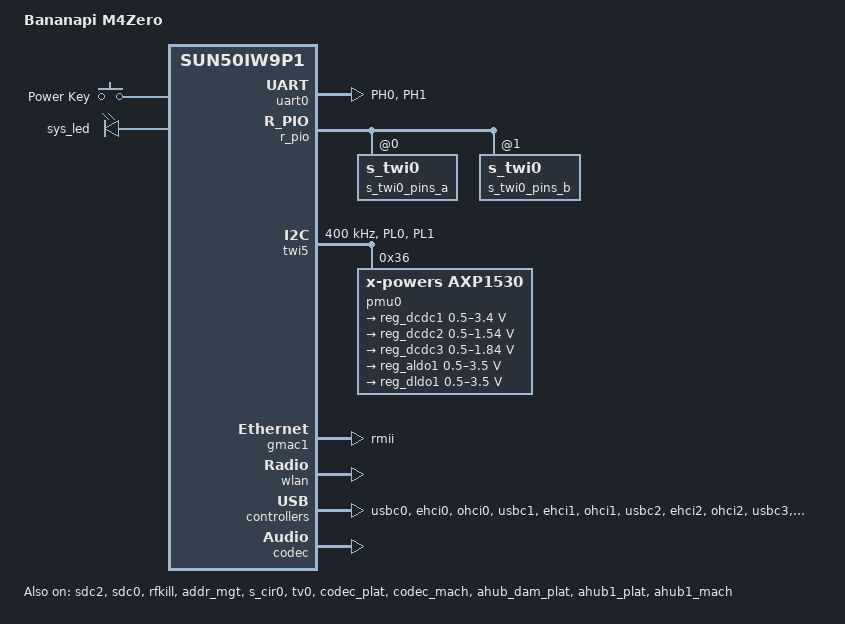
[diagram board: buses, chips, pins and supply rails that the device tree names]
// SPDX-License-Identifier: (GPL-2.0+ or MIT)
/*
 * Copyright (C) 2020 frank@allwinnertech.com
 */

/dts-v1/;
#include <dt-bindings/gpio/sun4i-gpio.h>
#include <dt-bindings/input/linux-event-codes.h>

#include "sun50iw9.dtsi"

/{
	model = "Bananapi M4Zero";
	compatible = "allwinner,h616", "arm,sun50iw9p1";

	aliases {
		disp = &uboot_disp;
		pmu0 = &pmu0;
		standby_param = &standby_param;
		hdmi = &uboot_hdmi;
		spi0 = &spi0;
		spi1 = &spi1;
		twi0 = &twi0;
		twi1 = &twi1;
		twi2 = &twi2;
		twi3 = &twi3;
		twi4 = &twi4;
		twi5 = &twi5;
	};

	gpio-keys {
		compatible = "gpio-keys";
		status = "okay";
		autorepeat;

		power {
			label = "Power Key";
			linux,code = <KEY_POWER>;
			gpio = <&pio PC 7 GPIO_ACTIVE_LOW>;	/* PC7 */
			wakeup-source;
			debounce-interval = <100>;
		};
	};

	gpio-leds {
                compatible = "gpio-leds";
                status = "okay";

                sys_led {
                        label="sys_led";
                        gpio = <&pio PC 12 GPIO_ACTIVE_LOW>;
                        linux,default-trigger = "heartbeat";
                };
        };

	box_start_os0 {
		compatible = "allwinner,box_start_os";
		start_type = <0x1>;
		irkey_used = <0x1>;
		pmukey_used = <0x0>;
		pmukey_num = <0x0>;
		led_power = <0x0>;
		led_state = <0x0>;
		pinctrl-0 = <&standby_red>;
		pinctrl-1 = <&standby_gpiokey>;
	};
};

&cpu0 {
	cpu-supply = <&reg_dcdc2>;
};

&spi0 {
	spi_slave_mode = <0>;
	pinctrl-names = "default", "sleep";
	pinctrl-0 = <&spi0_pins_a &spi0_pins_b>;
	pinctrl-1 = <&spi0_pins_c>;
	spi1_cs_number = <1>;
	spi1_cs_bitmap = <1>;
	status = "disabled";

	spi_board0 {
		device_type = "spi_board0";
		compatible = "linux,spidev";
		spi-max-frequency = <0x10000000>;
		reg = <0>;
		/*spi-rx-bus-width = <0x1>;
		spi-tx-bus-width = <0x1>;*/
		status = "disabled";
	};
};

/* 40pin spi1, pin19,21,23,24,26*/
&spi1 {
	spi_slave_mode = <0>;
	pinctrl-names = "default", "sleep";
	pinctrl-0 = <&spi1_pins_a &spi1_pins_b>;
	pinctrl-1 = <&spi1_pins_c>;
	status = "disabled";
	spi_board1@0 {
		device_type = "spi_board1";
		compatible = "linux,spidev";
		spi-max-frequency = <0x5f5e100>;
		reg = <0x0>;
		spi-rx-bus-width = <0x1>;
		spi-tx-bus-width = <0x1>;
		status = "okay";
	};
};

&uart0 {
	pinctrl-names = "default", "sleep";
	pinctrl-0 = <&uart0_ph_pins>;
	pinctrl-1 = <&uart0_ph_sleep>;
	status = "okay";
};

/* 40pin uart1, pin8,10,16,18*/
&uart1 {
	pinctrl-names = "default", "sleep";
	pinctrl-0 = <&uart1_ph_pins>;
	pinctrl-1 = <&uart1_ph_sleep>;
	device_type = "uart1";
	status = "disabled";
};

/* 40pin uart2, pin3,5 or pin23,24 */
&uart2 {
	pinctrl-names = "default", "sleep";
	//pinctrl-0 = <&uart2_pg_pins>;
	//pinctrl-1 = <&uart2_pg_sleep>;
	pinctrl-0 = <&uart2_ph_pins>;
	pinctrl-1 = <&uart2_ph_sleep>;
	status = "disabled";
};

/* zero 26pin uart3, pin7,8,9,10 */
&uart3 {
	pinctrl-names = "default", "sleep";
	pinctrl-0 = <&uart3_ph_pins>;
	pinctrl-1 = <&uart3_ph_sleep>;
	status = "disabled";
};

&uart4 {
	pinctrl-names = "default", "sleep";
	pinctrl-0 = <&uart4_ph_pins>;
	pinctrl-1 = <&uart4_ph_sleep>;
	status = "disabled";
};

/* 40pin uart5, pin11,13 */
&uart5 {
	pinctrl-names = "default", "sleep";
	pinctrl-0 = <&uart5_ph_pins>;
	pinctrl-1 = <&uart5_ph_sleep>;
	status = "disabled";
};

/* emmc */
&sdc2 {
	max-frequency = <100000000>;
	mmc-ddr-1_8v;
	mmc-hs200-1_8v;
	mmc-hs400-1_8v;
	sunxi-dis-signal-vol-sw;
	vmmc-supply = <&reg_dldo1>;
	vqmmc-supply = <&reg_aldo1>;
	status = "okay";
};

/* sd */
&sdc0 {
	max-frequency = <150000000>;
	sd-uhs-sdr50;
	sd-uhs-ddr50;
	sd-uhs-sdr104;
	vmmc-supply = <&reg_dldo1>;
	//cd-gpios = <&pio PF 6 (GPIO_ACTIVE_HIGH | GPIO_PULL_DOWN)>;
	non-removable;
	status = "okay";
};

/* 40pin sdio, pin32,22,15,29,31,33 */
&sdc1 {
	max-frequency = <150000000>;
	pinctrl-0 = <&sdc1_pins_a>;
	bus-width = <4>;
	no-mmc;
	no-sd;
	cap-sd-highspeed;
	sd-uhs-sdr12;
	sd-uhs-sdr25;
	sd-uhs-sdr50;
	sd-uhs-ddr50;
	sd-uhs-sdr104;
	/*sunxi-power-save-mode;*/
	sunxi-dis-signal-vol-sw;
	cap-sdio-irq;
	keep-power-in-suspend;
	ignore-pm-notify;
	ctl-spec-caps = <0x8>;
	vmmc-supply = <&reg_dldo1>;
	vqmmc-supply = <&reg_aldo1>;
	status = "disabled";
};

&nand0 {
	nand0_regulator1-supply = <&reg_dldo1>;
	nand0_regulator2-supply = <&reg_aldo1>;
	status = "disabled";
};

&r_pio {
	s_twi0_pins_a: s_twi0@0 {
		pins = "PL0", "PL1";
		function = "s_twi0";
		drive-strength = <20>;
		bias-pull-up;
	};

	s_twi0_pins_b: s_twi0@1 {
		pins = "PL0", "PL1";
		function = "gpio_in";
	};
};

/* For uboot */
/* for mmc */
&pio {

	vcc-pg-supply = <&reg_pio1_8>;

	uart0_ph_pins: uart0-ph-pins {
		pins = "PH0", "PH1";
		function = "uart0";
		bias-pull-up;
	};

	uart0_ph_sleep: uart0-ph-sleep {
		pins = "PH0", "PH1";
		function = "gpio_in";
	};

	uart1_ph_pins: uart1-ph-pins {
		pins = "PG6", "PG7", "PG8", "PG9";
		function = "uart1";
	};

	uart1_ph_sleep: uart1-ph-sleep {
		pins = "PG6", "PG7", "PG8", "PG9";
		function = "gpio_in";
	};
/*
	uart2_ph_pins: uart2-ph-pins {
		pins = "PG15", "PG16";
		function = "uart2";
	};

	uart2_ph_sleep: uart2-ph-sleep {
		pins = "PG15", "PG16";
		function = "gpio_in";
	};
*/
	uart2_ph_pins: uart2-ph-pins {
		pins = "PH5", "PH6";
		function = "uart2";
	};

	uart2_ph_sleep: uart2-ph-sleep {
		pins = "PH5", "PH6";
		function = "gpio_in";
	};

	uart3_ph_pins: uart3-ph-pins {
		pins = "PI9", "PI10", "PI11", "PI12";
		function = "uart3";
	};

	uart3_ph_sleep: uart3-ph-sleep {
		pins = "PI9", "PI10", "PI11", "PI12";
		function = "gpio_in";
	};

	uart4_ph_pins: uart4-ph-pins {
		pins = "PI13", "PI14";
		function = "uart4";
	};

	uart4_ph_sleep: uart4-ph-sleep {
		pins = "PI13", "PI14";
		function = "gpio_in";
	};

	uart5_ph_pins: uart5-ph-pins {
		pins = "PH2", "PH3";
		function = "uart5";
	};

	uart5_ph_sleep: uart5-ph-sleep {
		pins = "PH2", "PH3";
		function = "gpio_in";
	};

	s_cir0_pins_a: s_cir0@0 {
		pins = "PH10";
		function = "ir";
		drive-strength = <10>;
		bias-pull-up;
	};

	s_cir0_pins_b: s_cir0@1 {
	        pins = "PH10";
	        function = "gpio_in";
	};

	sdc0_pins_a: sdc0@0 {
		allwinner,pins = "PF0", "PF1", "PF2",
				 "PF3", "PF4", "PF5";
		allwinner,function = "sdc0";
		allwinner,muxsel = <2>;
		allwinner,drive = <3>;
		allwinner,pull = <1>;
	};

	sdc2_pins_a: sdc2@0 {
		allwinner,pins = "PC1", "PC5", "PC6",
				 "PC8", "PC9", "PC10", "PC11",
				 "PC13", "PC14", "PC15", "PC16";
		allwinner,function = "sdc2";
		allwinner,muxsel = <3>;
		allwinner,drive = <3>;
		allwinner,pull = <1>;
	};

	sdc2_pins_c: sdc2@2 {
		allwinner,pins = "PC0";
		allwinner,function = "sdc2";
		allwinner,muxsel = <3>;
		allwinner,drive = <3>;
		allwinner,pull = <2>;
	};

	twi0_pins_a: twi0@0 {
		pins = "PI5", "PI6";
		function = "twi0";
		drive-strength = <10>;
		bias-pull-up;
	};

	twi0_pins_b: twi0@1 {
		pins = "PI5", "PI6";
		function = "gpio_in";
	};

	twi1_pins_a: twi1@0 {
		pins = "PH0", "PH1";
		function = "twi1";
		drive-strength = <10>;
		bias-pull-up;
	};

	twi1_pins_b: twi1@1 {
		pins = "PH0", "PH1";
		function = "gpio_in";
	};

	twi2_pins_a: twi2@0 {
		pins = "PH2", "PH3";
		function = "twi2";
		drive-strength = <10>;
		bias-pull-up;
	};

	twi2_pins_b: twi2@1 {
		pins = "PH2", "PH3";
		function = "gpio_in";
	};

	twi3_pins_a: twi3@0 {
		pins = "PG17", "PG18";
		function = "twi3";
		drive-strength = <10>;
		bias-pull-up;
	};

	twi3_pins_b: twi3@1 {
		pins = "PG17", "PG18";
		function = "gpio_in";
	};

	twi4_pins_a: twi4@0 {
		pins = "PG15", "PG16";
		function = "twi4";
		drive-strength = <10>;
		bias-pull-up;
	};

	twi4_pins_b: twi4@1 {
		pins = "PG15", "PG16";
		function = "gpio_in";
	};

	spi0_pins_a: spi0@0 {
		pins = "PC0", "PC2", "PC4";
		function = "spi0";
		drive-strength = <20>;
	};

	spi0_pins_b: spi0@1 {
		pins = "PC3";
		function = "spi0";
		drive-strength = <20>;
		bias-pull-up;
	};

	spi0_pins_c: spi0@2 {
		pins = "PC0", "PC2", "PC3", "PC4";
		function = "gpio_in";
		drive-strength = <20>;
	};

	spi1_pins_a: spi1@0 {
		pins = "PH6", "PH7", "PH8";
		function = "spi1";
		drive-strength = <20>;
	};

	spi1_pins_b: spi1@1 {
		pins = "PH5", "PH9";
		function = "spi1";
		drive-strength = <20>;
		bias-pull-up;

	};

	spi1_pins_c: spi1@2 {
		pins = "PH5", "PH6", "PH7", "PH8", "PH9";
		function = "gpio_in";
		drive-strength = <20>;
	};

	gmac0_pins_a: gmac0@0 {
		pins = "PI0", "PI1", "PI2", "PI3",
			"PI4", "PI5", "PI7",
			"PI8", "PI9", "PI10", "PI11",
			"PI12", "PI13", "PI14", "PI15";
		function = "gmac0";
		drive-strength = <40>;
		bias-pull-up;
	};

	gmac0_pins_b: gmac0@1 {
		pins = "PI0", "PI1", "PI2", "PI3",
			"PI4", "PI5", "PI7",
			"PI8", "PI9", "PI10", "PI11",
			"PI12", "PI13", "PI14", "PI15";
	        function = "gpio_in";
	};


	pwm1_pin_a: pwm1@0 {
		pins = "PG19";
		function = "pwm1";
		drive-strength = <10>;
		bias-pull-up;
	};

	pwm1_pin_b: pwm1@1 {
		pins = "PG19";
		function = "gpio_in";
	};

	spdif_pins_a: spdif@0 {
		pins = "PH4";	/* spdif out */
		function = "spdif";
		drive-strength = <20>;
		bias-disable;
	};

	spdif_pins_b: spdif_sleep@0 {
		pins = "PH4";
		function = "gpio_in";
		drive-strength = <20>;
		bias-disable;
	};

	ahub_daudio0_pins_a: ahub_daudio0@0 {
		pins = "PI0", "PI1", "PI2";
		function = "i2s0";
		drive-strength = <20>;
		bias-disable;
	};

	ahub_daudio0_pins_b: ahub_daudio0@1 {
		pins = "PI3";
		function = "i2s0_dout0";
		drive-strength = <20>;
		bias-disable;
	};

	ahub_daudio0_pins_c: ahub_daudio0@2 {
		pins = "PI4";
		function = "i2s0_din0";
		drive-strength = <20>;
		bias-disable;
	};

	ahub_daudio0_pins_d: ahub_daudio0_sleep@0 {
		pins = "PI0", "PI1", "PI2", "PI3", "PI4";
		function = "gpio_in";
		drive-strength = <20>;
		bias-disable;
	};

	ahub_daudio2_pins_a: ahub_daudio2@0 {
		pins = "PG10", "PG11", "PG12";
		function = "i2s2";
		drive-strength = <20>;
		bias-disable;
	};

	ahub_daudio2_pins_b: ahub_daudio2@1 {
		pins = "PG13";
		function = "i2s2_dout0";
		drive-strength = <20>;
		bias-disable;
	};

	ahub_daudio2_pins_c: ahub_daudio2@2 {
		pins = "PG14";
		function = "i2s2_din0";
		drive-strength = <20>;
		bias-disable;
	};

	ahub_daudio2_pins_d: ahub_daudio2_sleep@0 {
		pins = "PG10", "PG11", "PG12", "PG13", "PG14";
		function = "gpio_in";
		drive-strength = <20>;
		bias-disable;
	};

	ahub_daudio3_pins_a: ahub_daudio3@0 {
		pins = "PH5", "PH6", "PH7";
		function = "i2s3";
		drive-strength = <20>;
		bias-disable;
	};

	ahub_daudio3_pins_b: ahub_daudio3@1 {
		pins = "PH8";
		function = "i2s3_dout0";
		drive-strength = <20>;
		bias-disable;
	};

	ahub_daudio3_pins_c: ahub_daudio3@2 {
		pins = "PH9";
		function = "i2s3_din0";
		drive-strength = <20>;
		bias-disable;
	};

	ahub_daudio3_pins_d: ahub_daudio3_sleep@0 {
		pins = "PH5", "PH6", "PH7", "PH8", "PH9";
		function = "gpio_in";
		drive-strength = <20>;
		bias-disable;
	};

	standby_red: standby@0 {
		allwinner,pins = "PC12";
		allwinner,function = "gpio_out";
		allwinner,muxsel = <1>;
		allwinner,data = <0>;
		allwinner,drive = <2>;
		allwinner,pull = <2>;
	};
	standby_gpiokey: standby@1 {
		allwinner,pins = "PC7";
		allwinner,function = "gpio_in";
		allwinner,muxsel = <0>;
		allwinner,data = <0>;
		allwinner,drive = <0>;
		allwinner,pull = <1>;
	};
};

&twi0 {
	clock-frequency = <400000>;
	pinctrl-0 = <&twi0_pins_a>;
	pinctrl-1 = <&twi0_pins_b>;
	pinctrl-names = "default", "sleep";
	twi_drv_used = <1>;
	status = "disabled";

	eeprom@50 {
		compatible = "atmel,24c16";
		reg = <0x50>;
		status = "disabled";
	};
};

&twi1 {
	clock-frequency = <400000>;
	pinctrl-0 = <&twi1_pins_a>;
	pinctrl-1 = <&twi1_pins_b>;
	pinctrl-names = "default", "sleep";
	twi_drv_used = <1>;
	status = "disabled";
};

/* 40pin i2c2, pin11,13 */
&twi2 {
	clock-frequency = <400000>;
	pinctrl-0 = <&twi2_pins_a>;
	pinctrl-1 = <&twi2_pins_b>;
	pinctrl-names = "default", "sleep";
	twi_drv_used = <1>;
	status = "disabled";
};

/* 40pin i2c3, pin27,28 */
&twi3 {
	clock-frequency = <400000>;
	pinctrl-0 = <&twi3_pins_a>;
	pinctrl-1 = <&twi3_pins_b>;
	pinctrl-names = "default", "sleep";
	twi_drv_used = <1>;
	status = "disabled";
};

/* 40pin i2c4, pin3,5 */
&twi4 {
	clock-frequency = <400000>;
	pinctrl-0 = <&twi4_pins_a>;
	pinctrl-1 = <&twi4_pins_b>;
	pinctrl-names = "default", "sleep";
	twi_drv_used = <1>;
	status = "disabled";

	pcm5122: pcm5122@4d {
		compatible = "ti,pcm5122";
		reg = <0x4d>;
		#sound-dai-cells = <0>;
		status = "disabled";
	};
};

&twi5 {
	clock-frequency = <400000>;
	pinctrl-0 = <&s_twi0_pins_a>;
	pinctrl-1 = <&s_twi0_pins_b>;
	pinctrl-names = "default", "sleep";
	device_type = "twi5";
	no_suspend = <1>;
	twi_drv_used = <0>;
	status = "okay";

	pmu0: pmu{
		compatible = "x-powers,axp1530";
		reg = <0x36>;
		/* irq line nc */
		wakeup-source;
		pmu_hot_shutdown = <1>;

		standby_param: standby_param {
			vdd-cpua = <0x2>;
			vdd-sys= <0x1>;
			vcc-io = <0x10>;
			vcc-dram = <0x4>;
		};

		regulators{
			reg_dcdc1: dcdc1 {
				regulator-name = "axp1530-dcdc1";
				regulator-min-microvolt = <500000>;
				regulator-max-microvolt = <3400000>;
				regulator-step-delay-us = <25>;
				regulator-final-delay-us = <50>;
				regulator-always-on;
			};

			reg_dcdc2: dcdc2 {
				regulator-name = "axp1530-dcdc2";
				regulator-min-microvolt = <500000>;
				regulator-max-microvolt = <1540000>;
				regulator-step-delay-us = <25>;
				regulator-final-delay-us = <50>;
				regulator-ramp-delay = <200>; /* FIXME */
				regulator-always-on;
			};

			reg_dcdc3: dcdc3 {
				regulator-name = "axp1530-dcdc3";
				regulator-min-microvolt = <500000>;
				regulator-max-microvolt = <1840000>;
				regulator-step-delay-us = <25>;
				regulator-final-delay-us = <50>;
				regulator-always-on;
			};

			reg_aldo1: ldo1 {
				regulator-name = "axp1530-aldo1";
				regulator-min-microvolt = <500000>;
				regulator-max-microvolt = <3500000>;
				regulator-step-delay-us = <25>;
				regulator-final-delay-us = <50>;
				regulator-always-on;
			};

			reg_dldo1: ldo2 {
				regulator-name = "axp1530-dldo1";
				regulator-min-microvolt = <500000>;
				regulator-max-microvolt = <3500000>;
				regulator-step-delay-us = <25>;
				regulator-final-delay-us = <50>;
				regulator-always-on;
			};
		};
	};
};

&cpu_trips{
	cpu_crit: cpu_crit@0 {
		temperature = <115000>;
		type = "critical";
		hysteresis = <0>;
	};
};

/*use_ephy25m, 0->external, 1->internal*/
&gmac0 {
	phy-mode = "rgmii";
	use_ephy25m = <0>;
	pinctrl-0 = <&gmac0_pins_a>;
	pinctrl-1 = <&gmac0_pins_b>;
	pinctrl-names = "default", "sleep";
	phy-rst = <&pio PI 16 GPIO_ACTIVE_HIGH>;
	tx-delay = <7>;
	rx-delay = <31>;
	status = "disabled";
};

&gmac1 {
	phy-mode = "rmii";
	status = "okay";
};

/* for disp */
&soc {
	card0_boot_para@2 {
		/* Avoid dtc compiling warnings. */
		reg = <0x0 0x2 0x0 0x0>;
		device_type = "card0_boot_para";
		card_ctrl = <0x0>;
		card_high_speed = <0x1>;
		card_line = <0x4>;
		pinctrl-0 = <&sdc0_pins_a>;
	};

	card2_boot_para@3 {
		/* Avoid dtc compiling warnings. */
		reg = <0x0 0x3 0x0 0x0>;
		device_type = "card2_boot_para";
		card_ctrl = <0x2>;
		card_high_speed = <0x1>;
		card_line = <0x8>;
		pinctrl-0 = <&sdc2_pins_a &sdc2_pins_c>;
		sdc_ex_dly_used = <0x2>;
		sdc_io_1v8 = <0x1>;
		sdc_type = "tm4";
	};

	clk_pll_video2: pll_video2 {
		#clock-cells = <0>;
		compatible = "allwinner,pll-clock";
		lock-mode = "new";
		assigned-clocks = <&clk_pll_video2>;
		/*assigned-clock-rates = <432000000>;*/
		clock-output-names = "pll_video2";
	};

	clk_pll_de: pll_de {
		#clock-cells = <0>;
		compatible = "allwinner,pll-clock";
		assigned-clocks = <&clk_pll_de>;
		assigned-clock-rates = <696000000>;
		lock-mode = "new";
		clock-output-names = "pll_de";
	};

	clk_de: de {
		#clock-cells = <0>;
		compatible = "allwinner,periph-clock";
		assigned-clock-parents = <&clk_pll_de>;
		assigned-clock-rates = <696000000>;
		assigned-clocks = <&clk_de>;
		clock-output-names = "de";
	};

	clk_display_top: display_top {
		#clock-cells = <0>;
		compatible = "allwinner,periph-clock";
		clock-output-names = "display_top";
	};

	clk_tcon_lcd: tcon_lcd {
		#clock-cells = <0>;
		compatible = "allwinner,periph-clock";
		clock-output-names = "tcon_lcd";
	};

	clk_tcon_lcd1: tcon_lcd1 {
		#clock-cells = <0>;
		compatible = "allwinner,periph-clock";
		clock-output-names = "tcon_lcd1";
	};
	clk_tcon_tv: tcon_tv {
		#clock-cells = <0>;
		compatible = "allwinner,periph-clock";
		assigned-clock-parents = <&clk_pll_video2>;
		assigned-clocks = <&clk_tcon_tv>;
		clock-output-names = "tcon_tv";
	};
	clk_tcon_tv1: tcon_tv1 {
		#clock-cells = <0>;
		compatible = "allwinner,periph-clock";
		clock-output-names = "tcon_tv1";
	};
	clk_lvds: lvds {
		#clock-cells = <0>;
		compatible = "allwinner,periph-clock";
		clock-output-names = "lvds";
		assigned-clocks = <&clk_lvds>;
	};
	clk_hdmi: hdmi {
		#clock-cells = <0>;
		compatible = "allwinner,periph-clock";
		assigned-clock-parents = <&clk_pll_video2>;
		assigned-clocks = <&clk_hdmi>;
		clock-output-names = "hdmi";
	};
	clk_hdmi_slow: hdmi_slow {
		#clock-cells = <0>;
		compatible = "allwinner,periph-clock";
		assigned-clocks = <&clk_hdmi_slow>;
		clock-output-names = "hdmi_slow";
	};
	clk_hdmi_cec: hdmi_cec {
		#clock-cells = <0>;
		compatible = "allwinner,periph-clock";
		assigned-clocks = <&clk_hdmi_cec>;
		clock-output-names = "hdmi_cec";
	};
	clk_hdmi_hdcp: hdmi_hdcp {
		#clock-cells = <0>;
		compatible = "allwinner,periph-clock";
		assigned-clock-parents = <&clk_pll_periph1>;
		assigned-clocks = <&clk_hdmi_hdcp>;
		clock-output-names = "hdmi_hdcp";
	};
	clk_pll_periph1: pll_periph1 {
		#clock-cells = <0>;
		compatible = "allwinner,pll-clock";
		assigned-clocks = <&clk_pll_periph1>;
		assigned-clock-rates = <600000000>;
		lock-mode = "new";
		clock-output-names = "pll_periph1";
	};

	auto_print@54321 {
		reg = <0x0 0x54321 0x0 0x0>;
		device_type = "auto_print";
		status = "disabled";
	};

	ac200: ac200 {
		tv_used = <0>;
		tv_twi_used = <1>;
		tv_twi_id = <3>;
		tv_twi_addr = <16>;
		tv_pwm_ch = <5>;
		status = "okay";
	};

	gpio_para {
		gpio_num = <28>;
		gpio_pin_1 = <&pio PG 0  GPIO_ACTIVE_HIGH>;
		gpio_pin_2 = <&pio PG 1 GPIO_ACTIVE_HIGH>;
		gpio_pin_3 = <&pio PG 2 GPIO_ACTIVE_HIGH>;
		gpio_pin_4 = <&pio PG 3 GPIO_ACTIVE_HIGH>;
		gpio_pin_5 = <&pio PG 4 GPIO_ACTIVE_HIGH>;
		gpio_pin_6 = <&pio PG 5 GPIO_ACTIVE_HIGH>;
		gpio_pin_7 = <&pio PG 6 GPIO_ACTIVE_HIGH>;
		gpio_pin_8 = <&pio PG 7 GPIO_ACTIVE_HIGH>;
		gpio_pin_9 = <&pio PG 8 GPIO_ACTIVE_HIGH>;
		gpio_pin_10 = <&pio PG 9 GPIO_ACTIVE_HIGH>;
		gpio_pin_11 = <&pio PG 10 GPIO_ACTIVE_HIGH>;
		gpio_pin_12 = <&pio PG 11 GPIO_ACTIVE_HIGH>;
		gpio_pin_13 = <&pio PG 12 GPIO_ACTIVE_HIGH>;
		gpio_pin_14 = <&pio PG 13 GPIO_ACTIVE_HIGH>;
		gpio_pin_15 = <&pio PG 14 GPIO_ACTIVE_HIGH>;
		gpio_pin_16 = <&pio PG 15 GPIO_ACTIVE_HIGH>;
		gpio_pin_17 = <&pio PG 16 GPIO_ACTIVE_HIGH>;
		gpio_pin_18 = <&pio PG 17 GPIO_ACTIVE_HIGH>;
		gpio_pin_19 = <&pio PG 18 GPIO_ACTIVE_HIGH>;
		gpio_pin_20 = <&pio PG 19 GPIO_ACTIVE_HIGH>;
		gpio_pin_21 = <&pio PH 2 GPIO_ACTIVE_HIGH>;
		gpio_pin_22 = <&pio PH 3 GPIO_ACTIVE_HIGH>;
		gpio_pin_23 = <&pio PH 4 GPIO_ACTIVE_HIGH>;
		gpio_pin_24 = <&pio PH 5 GPIO_ACTIVE_HIGH>;
		gpio_pin_25 = <&pio PH 6 GPIO_ACTIVE_HIGH>;
		gpio_pin_26 = <&pio PH 7 GPIO_ACTIVE_HIGH>;
		gpio_pin_27 = <&pio PH 8 GPIO_ACTIVE_HIGH>;
		gpio_pin_28 = <&pio PH 9 GPIO_ACTIVE_HIGH>;
		//gpio_pin_29 = <&pio PC 12 GPIO_ACTIVE_HIGH>;
		//normal_led = "gpio_pin_1";
		//easy_light_used = <1>;
		//normal_led_light = <1>;
		status = "okay";
	};
};

&rfkill {
	compatible = "allwinner,sunxi-rfkill";
	//chip_en = <&pio PC 2 GPIO_ACTIVE_HIGH>;
	power_en;
	pinctrl-0;
	pinctrl-names;
	clocks;
	status = "okay";

	wlan: wlan {
		compatible = "allwinner,sunxi-wlan";
		wlan_busnum = <0x1>;
		wlan_power;
		wlan_regon;
		wlan_hostwake;
		wakeup-source;
	};

	bt: bt {
		compatible = "allwinner,sunxi-bt";
		bt_power;
		bt_rst_n;
	};
};

&btlpm {
	compatible = "allwinner,sunxi-btlpm";
	uart_index = <0x1>;
	bt_wake = <&pio PG 17 GPIO_ACTIVE_HIGH>;
	bt_hostwake = <&pio PG 16 GPIO_ACTIVE_HIGH>;
	status = "disabled";
	wakeup-source;
};

&addr_mgt {
	compatible = "allwinner,sunxi-addr_mgt";
	type_addr_wifi = <0x0>;
	type_addr_bt = <0x0>;
	type_addr_eth = <0x0>;
	status = "okay";
};

/* 40pin pwm1, pin7 */
&pwm1 {
	pinctrl-names = "active", "sleep";
	pinctrl-0 = <&pwm1_pin_a>;
	pinctrl-1 = <&pwm1_pin_b>;
	status = "disable";
};

&hdmi {
	hdmi_used = <1>;
	aldo1-supply = <&reg_aldo1>;
	dcdc1-supply = <&reg_dcdc1>;
	hdmi_power_cnt = <2>;
	hdmi_power0 = "aldo1";
	hdmi_power1 = "dcdc1";
	hdmi_hdcp_enable = <1>;
	hdmi_hdcp22_enable = <1>;
	hdmi_cts_compatibility = <0>;
	hdmi_cec_support = <1>;
	hdmi_cec_super_standby = <0>;

	ddc_en_io_ctrl = <0>;
	power_io_ctrl = <0>;

	boot_mask = <0>;
};

/* screenx_output_type  (0:none; 1:lcd; 2:tv; 3:hdmi;)
 * screenx_output_mode  (used for hdmi output, 0:480i 1:576i 2:480p 3:576p 4:720p50)
 *      (5:720p60 6:1080i50 7:1080i60 8:1080p24 9:1080p50 10:1080p60 11:pal 14:ntsc)
 *      (38: 2560x1440p60 39:1440x2560p60 40:1080x1920p60 41: 800x480p60 42:1024x600p60)
 *      (43: 1280x800p60 44:640x480p60 45:960x544p60 46: 1920x1200p60 68:1920x720p60)
 *      (69: 2560x1600p60)
 */
&disp {
	disp_init_enable = <1>;
	disp_mode = <0>;

	screen0_output_type = <3>;
	screen0_output_mode = <10>;
	screen0_output_format = <0>;
	screen0_output_bits = <0>;
	screen0_output_eotf = <4>;
	screen0_output_cs = <257>;
	screen0_output_dvi_hdmi = <2>;
	screen0_output_range = <2>;
	screen0_output_scan = <0>;
	screen0_output_aspect_ratio = <8>;

	screen1_output_type = <2>;
	screen1_output_mode = <11>;
	screen1_output_format = <1>;
	screen1_output_bits = <0>;
	screen1_output_eotf = <4>;
	screen1_output_cs = <260>;
	screen1_output_dvi_hdmi = <0>;
	screen1_output_range = <2>;
	screen1_output_scan = <0>;
	screen1_output_aspect_ratio = <8>;
	dev0_output_type = <4>;
	dev0_output_mode = <10>;
	dev0_screen_id = <0>;
	dev0_do_hpd = <1>;

	dev1_output_type = <2>;
	dev1_output_mode = <11>;
	dev1_screen_id = <1>;
	dev1_do_hpd = <1>;

	dev2_output_type = <0>;
	def_output_dev = <0>;
	hdmi_mode_check = <1>;

	fb0_format = <0>;
	fb0_width = <1280>;
	fb0_height = <720>;

	fb1_format = <0>;
	fb1_width = <0>;
	fb1_height = <0>;

	chn_cfg_mode = <1>;

	disp_para_zone = <1>;
};

&s_cir0 {
	s_cir0_used = <1>;
	pinctrl-names = "default", "sleep";
	pinctrl-0 = <&s_cir0_pins_a>;
	pinctrl-1 = <&s_cir0_pins_b>;
	ir_power_key_code0 = <0x00>;
	ir_addr_code0 = <0xfe01>;
	ir_power_key_code1 = <0x1a>;
	ir_addr_code1 = <0xfb04>;
	ir_power_key_code2 = <0xf2>;
	ir_addr_code2 = <0x2992>;
	ir_power_key_code3 = <0x57>;
	ir_addr_code3 = <0x9f00>;
	ir_power_key_code4 = <0xdc>;
	ir_addr_code4 = <0x4cb3>;
	ir_power_key_code5 = <0x18>;
	ir_addr_code5 = <0xff00>;
	ir_power_key_code6 = <0xdc>;
	ir_addr_code6 = <0xdd22>;
	ir_power_key_code7 = <0x0d>;
	ir_addr_code7 = <0xbc00>;
	ir_power_key_code8 = <0x4d>;
	ir_addr_code8 = <0x4040>;
	wakeup-source;
	status = "okay";
};

/* tv configuration
 * dac_src    (dac no,support dac_src0~dac_src3,dac num max is 4)
 * interface  (interface type,1<->cvbs,2<->YPBPR,4<->SVIDEO)
 * dac_type   (0<->composite,1<->luma,2<->chroma,3<->reserved,4<->y/green,
 *                    5<->u/pb/blue,6<->v/pr/red)
 * NOTE: tv0,tv1 can not use the same dac_src.
*/
&tv0 {
	interface = <1>;
	dac_type0 = <0>;
	dac_src0 = <0>;

	status = "okay";
};

&gpu {
	gpu_idle = <1>;
	dvfs_status = <1>;
	operating-points = <
		600000 950000
		576000 950000
		540000 950000
		504000 950000
		456000 950000
		420000 950000
		384000 950000
		360000 950000
		336000 950000
		306000 950000
	>;
};

/*
 *usb_port_type: usb mode. 0-device, 1-host, 2-otg.
 *usb_detect_type: usb hotplug detect mode. 0-none, 1-vbus/id detect, 2-id/dpdm detect.
 *usb_detect_mode: 0-thread scan, 1-id gpio interrupt.
 *usb_id_gpio: gpio for id detect.
 *usb_det_vbus_gpio: gpio for id detect. gpio or "axp_ctrl";
 *usb_wakeup_suspend：0-SUPER_STANDBY, 1-USB_STANDBY.
 */
&usbc0 {
	device_type = "usbc0";
	usb_port_type = <0x0>;
	usb_detect_type = <0x1>;
	usb_detect_mode	= <0x0>;
	usb_id_gpio;
	usb_det_vbus_gpio;
	usb_regulator_io = "nocare";
	usb_wakeup_suspend = <0x0>;
	usb_luns = <0x3>;
	usb_serial_unique = <0>;
	usb_serial_number = "20080411";
	status = "okay";
};

&ehci0 {
	/*drvvbus-supply = <&usb0_drvvbus>;*/
	status = "okay";
};

&ohci0 {
	/*drvvbus-supply = <&usb0_drvvbus>;*/
	status = "okay";
};

&usbc1 {
	device_type = "usbc1";
	usb_regulator_io = "nocare";
	usb_wakeup_suspend = <0x0>;
	status = "okay";
};

&ehci1 {
	/*drvvbus-supply = <&usb0_drvvbus>;*/
	status = "okay";
};

&ohci1 {
	/*drvvbus-supply = <&usb0_drvvbus>;*/
	status = "okay";
};

&usbc2 {
	device_type = "usbc2";
	usb_regulator_io = "nocare";
	usb_wakeup_suspend = <0x0>;
	status = "okay";
};

&ehci2 {
	/*drvvbus-supply = <&usb0_drvvbus>;*/
	status	= "okay";
};

&ohci2 {
	/*drvvbus-supply = <&usb0_drvvbus>;*/
	status	= "okay";
};

&usbc3 {
	device_type = "usbc3";
	usb_regulator_io = "nocare";
	usb_wakeup_suspend = <0x0>;
	status = "okay";
};

&ehci3 {
	/*drvvbus-supply = <&usb0_drvvbus>;*/
	status = "okay";
};

&ohci3 {
	/*drvvbus-supply = <&usb0_drvvbus>;*/
	status = "okay";
};

/* audio dirver module -> audio codec */
&codec {
	lineout_vol = <31>;
	pa_pin_max = <1>;
	/*pa_pin_0 = <&pio PH 5 GPIO_ACTIVE_HIGH>;*/
	pa_pin_level_0 = <1>;
	pa_pin_msleep_0	= <0>;
	tx_hub_en;
	status = "okay";
};

&codec_plat {
	status = "okay";
};

&codec_mach {
	status = "okay";
};

&spdif {
	status = "disabled";
};

&soundspdif {
	status = "disabled";
};

/* 40pin spidifout, pin36 */
/* audio dirver module -> spdif */
&spdif_plat {
	pinctrl_used;
	pinctrl-names = "default","sleep";
	pinctrl-0 = <&spdif_pins_a>;
	pinctrl-1 = <&spdif_pins_b>;
	tx_hub_en;
	status = "disabled";
};

&spdif_mach {
	soundcard-mach,playback-only;
	status = "disabled";
};

/* audio dirver module -> audio hub */
&ahub_dam_plat {
	status = "okay";
};

&ahub_dam_mach {
	status		= "disabled";
};

&ahub0_plat {
	tdm_num		= <0>;
	tx_pin		= <0>;
	rx_pin		= <0>;
	/* pinctrl_used; */
	/* pinctrl-names= "default","sleep"; */
	/* pinctrl-0	= <&ahub_daudio0_pins_a &ahub_daudio0_pins_b &ahub_daudio0_pins_c>; */
	/* pinctrl-1	= <&ahub_daudio0_pins_d>; */
	status		= "disabled";
};

&ahub1_plat {
	tdm_num		= <1>;
	tx_pin		= <0>;
	rx_pin		= <0>;
	dai_type	= "hdmi";
	/* pinctrl_used; */
	/* pinctrl-names= "default","sleep"; */
	/* pinctrl-0	= <&ahub_daudio1_pins_a>; */
	/* pinctrl-1	= <&ahub_daudio1_pins_b>; */
	status		= "okay";
};

&ahub2_plat {
	tdm_num		= <2>;
	tx_pin		= <0>;
	rx_pin		= <0>;
	pinctrl_used;
	pinctrl-names	= "default","sleep";
	pinctrl-0	= <&ahub_daudio2_pins_a &ahub_daudio2_pins_b &ahub_daudio2_pins_c>;
	pinctrl-1	= <&ahub_daudio2_pins_d>;
	status		= "disabled";
};

&ahub3_plat {
	tdm_num		= <3>;
	tx_pin		= <0>;
	rx_pin		= <0>;
	/* pinctrl_used; */
	/* pinctrl-names= "default","sleep"; */
	/* pinctrl-0 = <&ahub_daudio3_pins_a &ahub_daudio3_pins_b &ahub_daudio3_pins_c>; */
	/* pinctrl-1 = <&ahub_daudio3_pins_d>; */
	status		= "disabled";
};

&ahub0_mach {
	soundcard-mach,format		= "i2s";
	soundcard-mach,frame-master	= <&ahub0_cpu>;
	soundcard-mach,bitclock-master	= <&ahub0_cpu>;
	/* soundcard-mach,frame-inversion; */
	/* soundcard-mach,bitclock-inversion; */
	soundcard-mach,slot-num		= <2>;
	soundcard-mach,slot-width	= <32>;
	status		= "disabled";
	ahub0_cpu: soundcard-mach,cpu {
		sound-dai	= <&ahub0_plat>;
		soundcard-mach,pll-fs	= <4>;	/* pll freq = 24.576M or 22.5792M * pll-fs */
		soundcard-mach,mclk-fs	= <256>;/* mclk freq = pcm rate * mclk-fs */
	};
	ahub0_codec: soundcard-mach,codec {
	};
};

&ahub1_mach {
	soundcard-mach,playback-only;
	soundcard-mach,format		= "i2s";
	soundcard-mach,frame-master	= <&ahub1_cpu>;
	soundcard-mach,bitclock-master	= <&ahub1_cpu>;
	/* soundcard-mach,frame-inversion; */
	/* soundcard-mach,bitclock-inversion; */
	soundcard-mach,slot-num		= <2>;
	soundcard-mach,slot-width	= <32>;
	status		= "okay";
	ahub1_cpu: soundcard-mach,cpu {
		sound-dai = <&ahub1_plat>;
		soundcard-mach,pll-fs	= <4>;	/* pll freq = 24.576M or 22.5792M * pll-fs */
		soundcard-mach,mclk-fs	= <0>;	/* mclk freq = pcm rate * mclk-fs */
	};
	ahub1_codec: soundcard-mach,codec {
	};
};

&ahub2_mach {
	soundcard-mach,playback-only;
	soundcard-mach,format		= "i2s";
	soundcard-mach,frame-master	= <&ahub2_cpu>;
	soundcard-mach,bitclock-master	= <&ahub2_cpu>;
	/* soundcard-mach,frame-inversion; */
	/* soundcard-mach,bitclock-inversion; */
	soundcard-mach,slot-num		= <2>;
	soundcard-mach,slot-width	= <32>;
	status		= "disabled";
	ahub2_cpu: soundcard-mach,cpu {
		sound-dai = <&ahub2_plat>;
		soundcard-mach,pll-fs	= <4>;	/* pll freq = 24.576M or 22.5792M * pll-fs */
		soundcard-mach,mclk-fs	= <256>;/* mclk freq = pcm rate * mclk-fs */
	};
	ahub2_codec: soundcard-mach,codec {
		sound-dai = <&pcm5122>;
	};
};

&ahub3_mach {
	soundcard-mach,format		= "i2s";
	soundcard-mach,frame-master	= <&ahub3_cpu>;
	soundcard-mach,bitclock-master	= <&ahub3_cpu>;
	/* soundcard-mach,frame-inversion; */
	/* soundcard-mach,bitclock-inversion; */
	soundcard-mach,slot-num		= <2>;
	soundcard-mach,slot-width	= <32>;
	status		= "disabled";
	ahub3_cpu: soundcard-mach,cpu {
		sound-dai = <&ahub3_plat>;
		soundcard-mach,pll-fs	= <4>;	/* pll freq = 24.576M or 22.5792M * pll-fs */
		soundcard-mach,mclk-fs	= <256>;/* mclk freq = pcm rate * mclk-fs */
	};
	ahub3_codec: soundcard-mach,codec {
	};
};
/* audio dirver module -> END */
